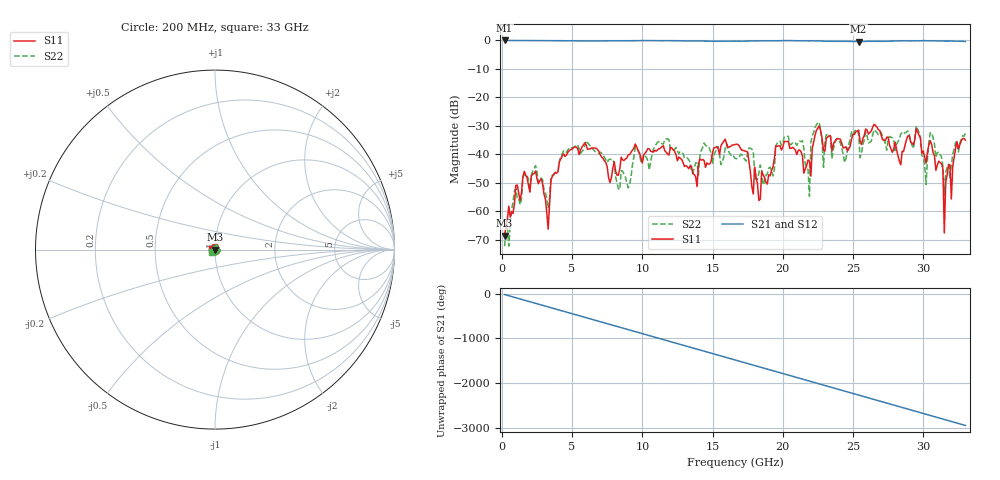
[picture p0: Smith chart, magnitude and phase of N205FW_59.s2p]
# GHZ S RI R 50
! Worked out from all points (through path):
!   329 points, 200 MHz to 33 GHz, reference 50 ohm
!   highest |S21| = -0.01 dB at 200 MHz (marker M1); lowest = -0.4 dB at 25.4 GHz (marker M2)
!   group delay of S21, straight-line fit = 248 ps
!   lowest |S11| = -68.7 dB at 200 MHz (marker M3), VSWR 1.00, Z = 50 - j0.033 ohm
!   |S11| at or under -10 dB: start of sweep to end of sweep
!   |S22| runs from -72.3 to -28.8 dB; largest |S21 - S12| = 0.0022
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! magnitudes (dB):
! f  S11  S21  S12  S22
! 200 MHz  -68.7  0.0  0.0  -72.3
! 1.6 GHz  -46.0  0.0  0.0  -47.1
! 3.3 GHz  -66.3  -0.1  -0.1  -59.0
! 3.6 GHz  -47.7  -0.1  -0.1  -47.4
! 5.7 GHz  -37.5  -0.2  -0.2  -39.1
! 8.4 GHz  -45.1  -0.1  -0.1  -52.5
! 11.2 GHz  -38.1  -0.1  -0.1  -35.6
! 13.9 GHz  -51.4  -0.2  -0.2  -43.1
! 16.6 GHz  -36.6  -0.3  -0.3  -41.4
! 18.3 GHz  -56.3  -0.2  -0.2  -46.6
! 21.4 GHz  -40.5  -0.2  -0.1  -35.2
! 21.9 GHz  -42.4  -0.2  -0.2  -54.8
! 22.1 GHz  -38.0  -0.1  -0.1  -33.5
! 25.4 GHz  -31.5  -0.4  -0.4  -32.9
! 27.6 GHz  -36.8  -0.2  -0.2  -33.7
! 29.5 GHz  -31.1  -0.1  -0.1  -30.0
! 30.2 GHz  -43.1  -0.1  -0.1  -50.7
! 30.5 GHz  -35.3  -0.1  -0.1  -32.5
! 31.4 GHz  -45.1  -0.2  -0.2  -44.2
! 31.5 GHz  -67.7  -0.2  -0.2  -54.4
! 31.8 GHz  -43.9  -0.2  -0.2  -43.5
! 33 GHz  -35.0  -0.4  -0.4  -32.7
